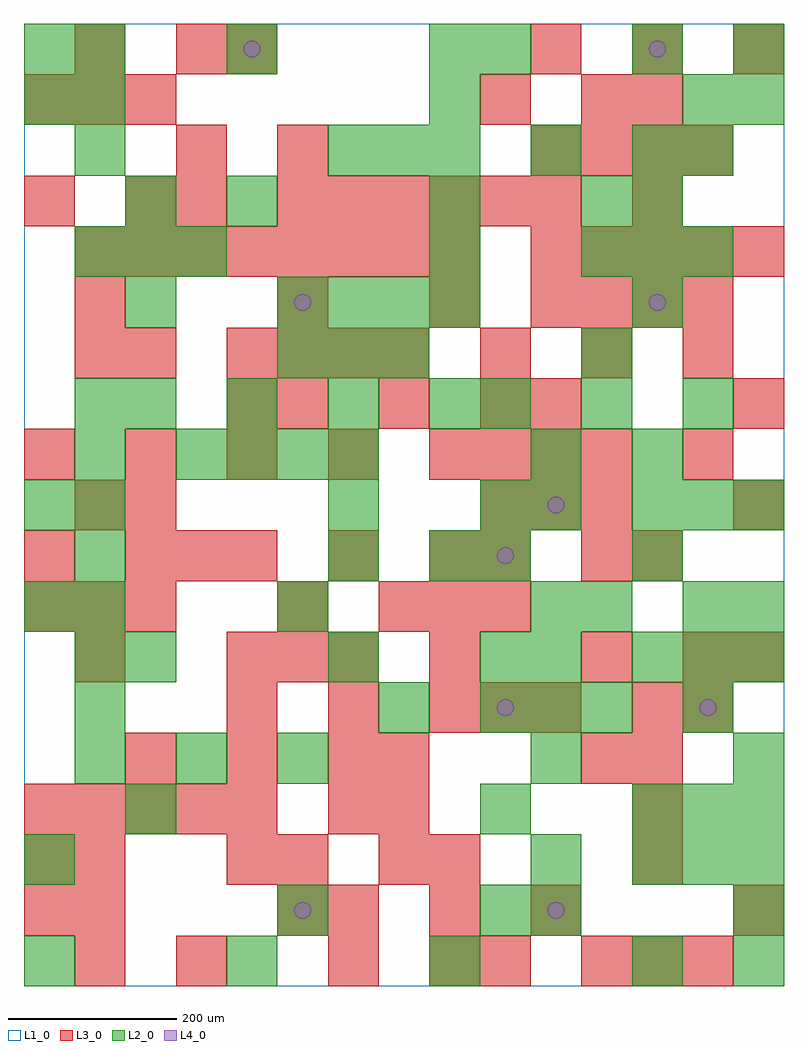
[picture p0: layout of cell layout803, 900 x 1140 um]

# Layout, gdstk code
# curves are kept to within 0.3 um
import gdstk
lib = gdstk.Library(unit=1e-6, precision=1e-09)
def R(c, l, rs):  # rectangles x0, y0, x1, y1
    for r in rs: c.add(gdstk.rectangle(r[:2], r[2:], *l))
def A(c, l, x, y, w, h, nx, ny, dx, dy):  # array of equal rectangles
    R(c, l, [(x+i*dx, y+j*dy, x+i*dx+w, y+j*dy+h) for i in range(nx) for j in range(ny)])
def P(c, l, *ps):  # polygons
    for p in ps: c.add(gdstk.Polygon(p, *l))
L1_0 = (1, 0)
L2_0 = (2, 0)
L3_0 = (3, 0)
L4_0 = (4, 0)

layout803 = lib.new_cell('layout803')
R(layout803, L1_0, [(0,0,900,1140)])
A(layout803, L2_0, 0, 0, 60, 60, 4, 1, 240, 0)
A(layout803, L2_0, 840, 60, 60, 60, 1, 3, 0, 180)
A(layout803, L2_0, 600, 120, 60, 60, 1, 3, 0, 120)
A(layout803, L2_0, 720, 120, 60, 60, 3, 2, 60, 60)
A(layout803, L2_0, 60, 240, 60, 60, 3, 1, 120, 0)
A(layout803, L2_0, 60, 300, 60, 60, 1, 7, 0, 60)
A(layout803, L2_0, 540, 300, 60, 60, 3, 1, 60, 0)
A(layout803, L2_0, 720, 360, 60, 60, 3, 2, 60, 180)
A(layout803, L2_0, 180, 600, 60, 60, 4, 1, 60, 0)
A(layout803, L2_0, 120, 660, 60, 60, 4, 1, 120, 0)
A(layout803, L2_0, 540, 660, 60, 60, 3, 1, 120, 0)
A(layout803, L2_0, 300, 720, 60, 60, 3, 1, 60, 0)
A(layout803, L2_0, 300, 780, 60, 60, 4, 1, 60, 0)
A(layout803, L2_0, 60, 840, 60, 60, 3, 1, 60, 0)
A(layout803, L2_0, 660, 840, 60, 60, 3, 1, 60, 0)
A(layout803, L2_0, 60, 960, 60, 60, 1, 3, 0, 60)
A(layout803, L2_0, 360, 960, 60, 60, 3, 1, 60, 0)
R(layout803, L2_0, [(840,0,900,60), (300,60,360,120), (540,60,600,120), (600,60,660,120), (0,120,60,180), (120,180,180,240), (540,180,600,240), (420,300,480,360), (780,300,840,360), (120,360,180,420), (360,360,420,420), (540,360,600,420), (0,420,60,480), (300,420,360,480), (600,420,660,480), (660,420,720,480), (780,420,840,480), (360,480,420,540), (480,480,540,540), (540,480,600,540), (720,480,780,540), (0,540,60,600), (360,540,420,600), (540,540,600,600), (600,540,660,600), (600,600,660,660), (720,600,780,660), (660,720,720,780), (120,780,180,840), (720,780,780,840), (480,840,540,900), (120,900,180,960), (240,900,300,960), (480,900,540,960), (660,900,720,960), (720,900,780,960), (600,960,660,1020), (720,960,780,1020), (780,960,840,1020), (0,1020,60,1080), (480,1020,540,1080), (780,1020,840,1080), (840,1020,900,1080), (0,1080,60,1140), (240,1080,300,1140), (480,1080,540,1140), (540,1080,600,1140), (720,1080,780,1140), (840,1080,900,1140)])
A(layout803, L3_0, 60, 0, 60, 60, 1, 3, 0, 60)
A(layout803, L3_0, 660, 0, 60, 60, 3, 1, 60, 0)
A(layout803, L3_0, 360, 60, 60, 60, 3, 1, 120, 0)
A(layout803, L3_0, 420, 120, 60, 60, 1, 3, 0, 60)
A(layout803, L3_0, 720, 120, 60, 60, 1, 4, 0, 60)
A(layout803, L3_0, 0, 180, 60, 60, 5, 1, 60, 0)
A(layout803, L3_0, 120, 240, 60, 60, 3, 1, 120, 0)
A(layout803, L3_0, 660, 240, 60, 60, 1, 3, 0, 120)
A(layout803, L3_0, 240, 300, 60, 60, 3, 1, 120, 0)
A(layout803, L3_0, 60, 360, 60, 60, 1, 3, 0, 180)
A(layout803, L3_0, 240, 360, 60, 60, 3, 1, 60, 0)
A(layout803, L3_0, 0, 420, 60, 60, 3, 2, 60, 600)
A(layout803, L3_0, 420, 420, 60, 60, 3, 1, 60, 0)
A(layout803, L3_0, 120, 480, 60, 60, 3, 1, 60, 0)
A(layout803, L3_0, 120, 540, 60, 60, 1, 3, 0, 180)
A(layout803, L3_0, 540, 540, 60, 60, 3, 2, 60, 60)
A(layout803, L3_0, 0, 600, 60, 60, 5, 1, 120, 0)
A(layout803, L3_0, 300, 660, 60, 60, 3, 1, 120, 0)
A(layout803, L3_0, 240, 720, 60, 60, 4, 1, 60, 0)
A(layout803, L3_0, 540, 720, 60, 60, 3, 1, 120, 0)
A(layout803, L3_0, 600, 780, 60, 60, 4, 2, 60, 180)
A(layout803, L3_0, 60, 840, 60, 60, 8, 1, 60, 0)
A(layout803, L3_0, 600, 840, 60, 60, 5, 1, 60, 0)
A(layout803, L3_0, 300, 900, 60, 60, 6, 1, 60, 0)
A(layout803, L3_0, 600, 1080, 60, 60, 3, 1, 120, 0)
R(layout803, L3_0, [(180,0,240,60), (360,0,420,60), (480,0,540,60), (540,0,600,60), (0,60,60,120), (300,60,360,120), (840,60,900,120), (0,120,60,180), (240,120,300,180), (300,120,360,180), (480,120,540,180), (360,180,420,240), (540,300,600,360), (600,300,660,360), (780,300,840,360), (480,360,540,420), (780,360,840,420), (840,360,900,420), (300,420,360,480), (0,480,60,540), (360,480,420,540), (480,480,540,540), (540,480,600,540), (720,480,780,540), (840,540,900,600), (780,600,840,660), (240,660,300,720), (600,660,660,720), (840,660,900,720), (60,780,120,840), (300,780,360,840), (480,780,540,840), (0,900,60,960), (180,900,240,960), (720,900,780,960), (180,960,240,1020), (300,960,360,1020), (540,1020,600,1080), (660,1020,720,1080), (720,1020,780,1080), (60,1080,120,1140), (180,1080,240,1140), (240,1080,300,1140)])
P(layout803, L4_0, [(280,1110),(279.239,1113.827),(277.071,1117.071),(273.827,1119.239),(270,1120),(266.173,1119.239),(262.929,1117.071),(260.761,1113.827),(260,1110),(260.761,1106.173),(262.929,1102.929),(266.173,1100.761),(270,1100),(273.827,1100.761),(277.071,1102.929),(279.239,1106.173)],
  [(340,90),(339.239,93.827),(337.071,97.071),(333.827,99.239),(330,100),(326.173,99.239),(322.929,97.071),(320.761,93.827),(320,90),(320.761,86.173),(322.929,82.929),(326.173,80.761),(330,80),(333.827,80.761),(337.071,82.929),(339.239,86.173)],
  [(340,810),(339.239,813.827),(337.071,817.071),(333.827,819.239),(330,820),(326.173,819.239),(322.929,817.071),(320.761,813.827),(320,810),(320.761,806.173),(322.929,802.929),(326.173,800.761),(330,800),(333.827,800.761),(337.071,802.929),(339.239,806.173)],
  [(580,330),(579.239,333.827),(577.071,337.071),(573.827,339.239),(570,340),(566.173,339.239),(562.929,337.071),(560.761,333.827),(560,330),(560.761,326.173),(562.929,322.929),(566.173,320.761),(570,320),(573.827,320.761),(577.071,322.929),(579.239,326.173)],
  [(580,510),(579.239,513.827),(577.071,517.071),(573.827,519.239),(570,520),(566.173,519.239),(562.929,517.071),(560.761,513.827),(560,510),(560.761,506.173),(562.929,502.929),(566.173,500.761),(570,500),(573.827,500.761),(577.071,502.929),(579.239,506.173)],
  [(640,90),(639.239,93.827),(637.071,97.071),(633.827,99.239),(630,100),(626.173,99.239),(622.929,97.071),(620.761,93.827),(620,90),(620.761,86.173),(622.929,82.929),(626.173,80.761),(630,80),(633.827,80.761),(637.071,82.929),(639.239,86.173)],
  [(640,570),(639.239,573.827),(637.071,577.071),(633.827,579.239),(630,580),(626.173,579.239),(622.929,577.071),(620.761,573.827),(620,570),(620.761,566.173),(622.929,562.929),(626.173,560.761),(630,560),(633.827,560.761),(637.071,562.929),(639.239,566.173)],
  [(760,810),(759.239,813.827),(757.071,817.071),(753.827,819.239),(750,820),(746.173,819.239),(742.929,817.071),(740.761,813.827),(740,810),(740.761,806.173),(742.929,802.929),(746.173,800.761),(750,800),(753.827,800.761),(757.071,802.929),(759.239,806.173)],
  [(760,1110),(759.239,1113.827),(757.071,1117.071),(753.827,1119.239),(750,1120),(746.173,1119.239),(742.929,1117.071),(740.761,1113.827),(740,1110),(740.761,1106.173),(742.929,1102.929),(746.173,1100.761),(750,1100),(753.827,1100.761),(757.071,1102.929),(759.239,1106.173)],
  [(820,330),(819.239,333.827),(817.071,337.071),(813.827,339.239),(810,340),(806.173,339.239),(802.929,337.071),(800.761,333.827),(800,330),(800.761,326.173),(802.929,322.929),(806.173,320.761),(810,320),(813.827,320.761),(817.071,322.929),(819.239,326.173)])

lib.write_gds('layout803.gds')
